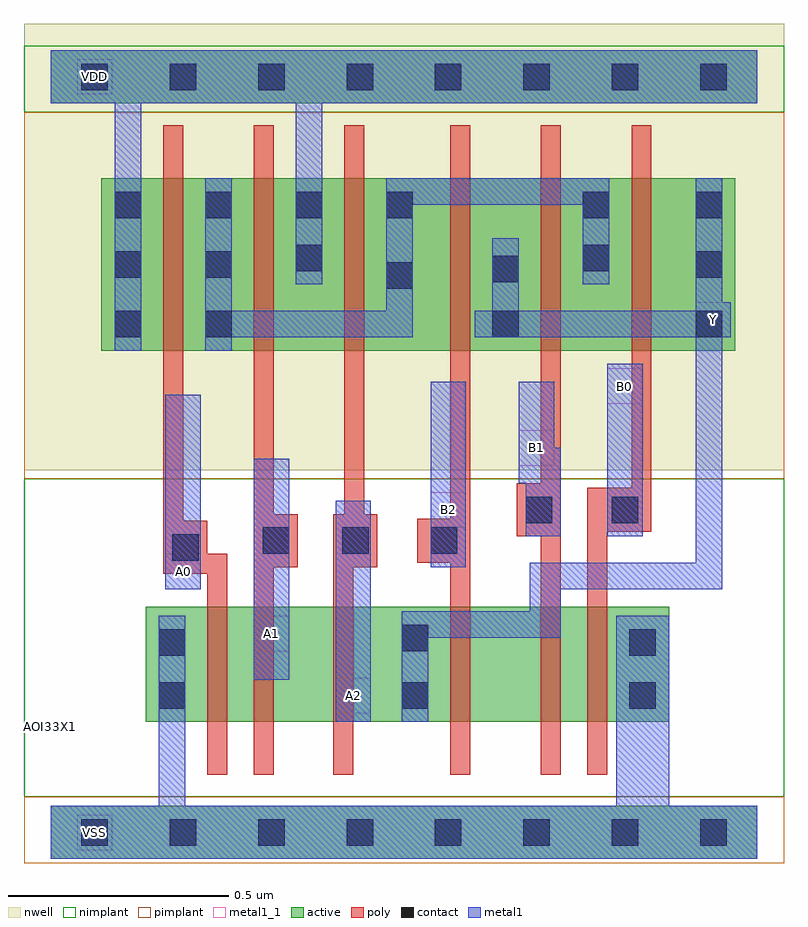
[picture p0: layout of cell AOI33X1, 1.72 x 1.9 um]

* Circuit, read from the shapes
.subckt AOI33X1 A0 A1 A2 B0 B1 B2 VDD VSS Y
M1 n1 A0 VSS VSS nfet w=0.26u l=0.045u
M2 n2 A1 n1 VSS nfet w=0.26u l=0.045u
M3 Y A2 n2 VSS nfet w=0.26u l=0.045u
M4 n3 B2 Y VSS nfet w=0.26u l=0.045u
M5 n4 B1 n3 VSS nfet w=0.26u l=0.045u
M6 VSS B0 n4 VSS nfet w=0.26u l=0.045u
M7 n5 A0 VDD VDD pfet w=0.39u l=0.045u
M8 VDD A1 n5 VDD pfet w=0.39u l=0.045u
M9 n5 A2 VDD VDD pfet w=0.39u l=0.045u
M10 Y B2 n5 VDD pfet w=0.39u l=0.045u
M11 n5 B1 Y VDD pfet w=0.39u l=0.045u
M12 Y B0 n5 VDD pfet w=0.39u l=0.045u
.ends

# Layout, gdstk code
import gdstk
lib = gdstk.Library(unit=1e-6, precision=5e-10)
def R(c, l, rs):  # rectangles x0, y0, x1, y1
    for r in rs: c.add(gdstk.rectangle(r[:2], r[2:], *l))
def A(c, l, x, y, w, h, nx, ny, dx, dy):  # array of equal rectangles
    R(c, l, [(x+i*dx, y+j*dy, x+i*dx+w, y+j*dy+h) for i in range(nx) for j in range(ny)])
def P(c, l, *ps):  # polygons
    for p in ps: c.add(gdstk.Polygon(p, *l))
active = (1, 0)
nwell = (2, 0)
poly = (3, 0)
nimplant = (4, 0)
pimplant = (5, 0)
contact = (6, 0)
metal1 = (7, 0)
metal1_1 = (7, 1)

aoi33x1 = lib.new_cell('AOI33X1')
R(aoi33x1, active, [(0,-0.06,1.6,0.06), (0.215,0.25,1.4,0.51), (0.115,1.09,1.55,1.48), (0,1.65,1.6,1.77)])
R(aoi33x1, nwell, [(-0.06,0.82,1.66,1.83)])
P(aoi33x1, poly, [(0.255,1.6),(0.3,1.6),(0.3,0.705),(0.355,0.705),(0.355,0.63),(0.4,0.63),(0.4,0.13),(0.355,0.13),(0.355,0.585),(0.255,0.585)],
  [(0.46,1.6),(0.505,1.6),(0.505,0.72),(0.56,0.72),(0.56,0.6),(0.505,0.6),(0.505,0.13),(0.46,0.13)],
  [(0.665,1.6),(0.71,1.6),(0.71,0.72),(0.74,0.72),(0.74,0.6),(0.685,0.6),(0.685,0.13),(0.64,0.13),(0.64,0.72),(0.665,0.72)],
  [(0.905,1.6),(0.95,1.6),(0.95,0.13),(0.905,0.13),(0.905,0.61),(0.83,0.61),(0.83,0.71),(0.905,0.71)],
  [(1.11,1.6),(1.155,1.6),(1.155,0.13),(1.11,0.13),(1.11,0.67),(1.055,0.67),(1.055,0.79),(1.11,0.79)],
  [(1.315,1.6),(1.36,1.6),(1.36,0.68),(1.26,0.68),(1.26,0.13),(1.215,0.13),(1.215,0.78),(1.315,0.78)])
R(aoi33x1, nimplant, [(-0.06,0.08,1.66,0.8), (-0.06,1.63,1.66,1.78)])
R(aoi33x1, pimplant, [(-0.06,-0.07,1.66,0.08), (-0.06,0.8,1.66,1.63)])
A(aoi33x1, contact, 0.07, -0.03, 0.06, 0.06, 8, 2, 0.2, 1.71)
A(aoi33x1, contact, 1.46, 1.12, 0.06, 0.06, 1, 3, 0, 0.135)
A(aoi33x1, contact, 0.145, 1.39, 0.06, 0.06, 4, 1, 0.205, 0)
R(aoi33x1, contact, [(0.245,0.28,0.305,0.34), (0.795,0.28,0.855,0.34), (1.31,0.28,1.37,0.34), (0.245,0.4,0.305,0.46), (1.31,0.4,1.37,0.46), (0.795,0.41,0.855,0.47), (0.275,0.615,0.335,0.675), (0.48,0.63,0.54,0.69), (0.66,0.63,0.72,0.69), (0.86,0.63,0.92,0.69), (1.075,0.7,1.135,0.76), (1.27,0.7,1.33,0.76), (0.145,1.12,0.205,1.18), (0.35,1.12,0.41,1.18), (1,1.12,1.06,1.18), (0.76,1.23,0.82,1.29), (1,1.245,1.06,1.305), (0.145,1.255,0.205,1.315), (0.35,1.255,0.41,1.315), (0.555,1.27,0.615,1.33), (1.205,1.27,1.265,1.33), (1.205,1.39,1.265,1.45)])
R(aoi33x1, metal1, [(0.645,0.25,0.725,0.75), (0.46,0.345,0.54,0.845), (1.085,0.44,1.155,0.61), (0.26,0.55,0.34,0.99), (1.085,0.55,1.52,0.61), (0.86,0.6,0.94,1.02), (1.26,0.67,1.34,1.06), (0.96,1.12,1.035,1.18)])
P(aoi33x1, metal1, [(1.14,0.5),(0.795,0.5),(0.795,0.25),(0.855,0.25),(0.855,0.44),(1.14,0.44)],
  [(0,1.77),(1.6,1.77),(1.6,1.65),(0.615,1.65),(0.615,1.24),(0.555,1.24),(0.555,1.65),(0.205,1.65),(0.205,1.09),(0.145,1.09),(0.145,1.65),(0,1.65)],
  [(0.35,1.48),(0.41,1.48),(0.41,1.18),(0.76,1.18),(0.76,1.48),(1.265,1.48),(1.265,1.24),(1.205,1.24),(1.205,1.42),(0.82,1.42),(0.82,1.12),(0.41,1.12),(0.41,1.09),(0.35,1.09)],
  [(1.54,1.2),(1.52,1.2),(1.52,1.48),(1.46,1.48),(1.46,1.18),(1.06,1.18),(1.06,1.345),(1,1.345),(1,1.12),(1.46,1.12),(1.46,0.55),(1.52,0.55),(1.52,1.12),(1.54,1.12)],
  [(1.06,1.02),(1.14,1.02),(1.14,0.87),(1.155,0.87),(1.155,0.67),(1.075,0.67),(1.075,0.79),(1.06,0.79)],
  [(0.245,0.49),(0.305,0.49),(0.305,0.06),(1.28,0.06),(1.28,0.49),(1.4,0.49),(1.4,0.06),(1.6,0.06),(1.6,-0.06),(0,-0.06),(0,0.06),(0.245,0.06)])
R(aoi33x1, metal1_1, [(0.06,-0.04,0.14,0.04), (0.645,0.27,0.725,0.35), (0.46,0.41,0.54,0.49), (0.26,0.55,0.34,0.63), (0.86,0.69,0.94,0.77), (1.06,0.83,1.14,0.91), (1.26,0.97,1.34,1.05), (1.46,1.12,1.54,1.2), (0.06,1.67,0.14,1.75)])
aoi33x1.add(gdstk.Label('VSS', (0.1,0), layer=7, texttype=1))
aoi33x1.add(gdstk.Label('Y', (1.5,1.16), layer=7, texttype=1))
aoi33x1.add(gdstk.Label('A0', (0.3,0.59), layer=7, texttype=1))
aoi33x1.add(gdstk.Label('A2', (0.685,0.31), layer=7, texttype=1))
aoi33x1.add(gdstk.Label('B1', (1.1,0.87), layer=7, texttype=1))
aoi33x1.add(gdstk.Label('B0', (1.3,1.01), layer=7, texttype=1))
aoi33x1.add(gdstk.Label('A1', (0.5,0.45), layer=7, texttype=1))
aoi33x1.add(gdstk.Label('B2', (0.9,0.73), layer=7, texttype=1))
aoi33x1.add(gdstk.Label('VDD', (0.1,1.71), layer=7, texttype=1))
aoi33x1.add(gdstk.Label('AOI33X1', (0,0.24), layer=63, texttype=0))

lib.write_gds('AOI33X1.gds')
